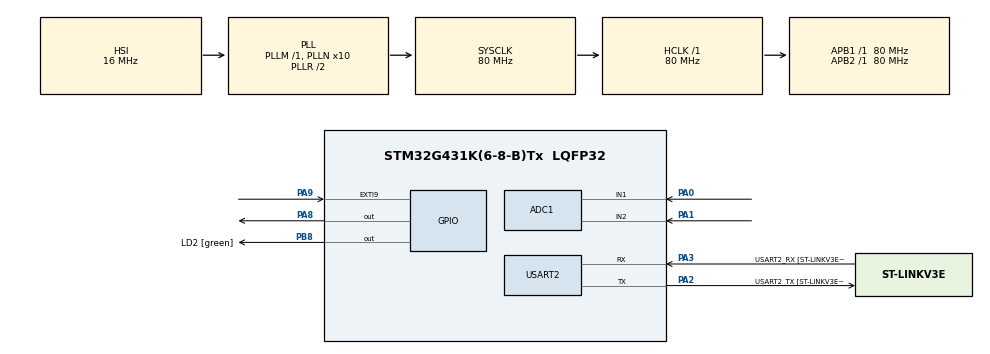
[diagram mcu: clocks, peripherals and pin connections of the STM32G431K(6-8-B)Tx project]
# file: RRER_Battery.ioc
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ADC1.Channel-0\#ChannelRegularConversion=ADC_CHANNEL_1
ADC1.Channel-2\#ChannelRegularConversion=ADC_CHANNEL_2
ADC1.Channel-3\#ChannelRegularConversion=ADC_CHANNEL_VREFINT
ADC1.ClockPrescaler=ADC_CLOCK_SYNC_PCLK_DIV4
ADC1.ContinuousConvMode=ENABLE
ADC1.DMAContinuousRequests=ENABLE
ADC1.EnableAnalogWatchDog1=false
ADC1.EnableAnalogWatchDog2=false
ADC1.EnableAnalogWatchDog3=false
ADC1.EnableInjectedConversion=ENABLE
ADC1.InjNumberOfConversion=0
ADC1.MonitoredBy-2\#ChannelRegularConversion=ADC_ANALOGWATCHDOG_2
ADC1.NbrOfConversion=3
ADC1.NbrOfConversionFlag=1
ADC1.OffsetNumber-0\#ChannelRegularConversion=ADC_OFFSET_NONE
ADC1.OffsetNumber-2\#ChannelRegularConversion=ADC_OFFSET_NONE
ADC1.OffsetNumber-3\#ChannelRegularConversion=ADC_OFFSET_NONE
ADC1.Overrun=ADC_OVR_DATA_PRESERVED
ADC1.Rank-0\#ChannelRegularConversion=1
ADC1.Rank-2\#ChannelRegularConversion=2
ADC1.Rank-3\#ChannelRegularConversion=3
ADC1.RegFilteringConfig-2\#ChannelRegularConversion=ADC_AWD_FILTERING_NONE
ADC1.SamplingTime-0\#ChannelRegularConversion=ADC_SAMPLETIME_47CYCLES_5
ADC1.SamplingTime-2\#ChannelRegularConversion=ADC_SAMPLETIME_47CYCLES_5
ADC1.SamplingTime-3\#ChannelRegularConversion=ADC_SAMPLETIME_47CYCLES_5
ADC1.WDG2ChannelR2=ADC_CHANNEL_2
ADC1.master=1
Dma.ADC1.0.Direction=DMA_PERIPH_TO_MEMORY
Dma.ADC1.0.EventEnable=DISABLE
Dma.ADC1.0.Instance=DMA1_Channel1
Dma.ADC1.0.MemDataAlignment=DMA_MDATAALIGN_HALFWORD
Dma.ADC1.0.MemInc=DMA_MINC_ENABLE
Dma.ADC1.0.Mode=DMA_CIRCULAR
Dma.ADC1.0.PeriphDataAlignment=DMA_PDATAALIGN_HALFWORD
Dma.ADC1.0.PeriphInc=DMA_PINC_DISABLE
Dma.ADC1.0.Polarity=HAL_DMAMUX_REQ_GEN_RISING
Dma.ADC1.0.Priority=DMA_PRIORITY_MEDIUM
Dma.ADC1.0.RequestNumber=1
Dma.ADC1.0.SignalID=NONE
Dma.ADC1.0.SyncEnable=DISABLE
Dma.ADC1.0.SyncPolarity=HAL_DMAMUX_SYNC_NO_EVENT
Dma.ADC1.0.SyncRequestNumber=1
Dma.ADC1.0.SyncSignalID=NONE
Dma.Request0=ADC1
Mcu.Family=STM32G4
Mcu.Name=STM32G431K(6-8-B)Tx
Mcu.Package=LQFP32
NVIC.DMA1_Channel1_IRQn=true\:0\:0\:false\:false\:true\:false\:true
NVIC.EXTI9_5_IRQn=true\:0\:0\:false\:false\:true\:true\:true
NVIC.PriorityGroup=NVIC_PRIORITYGROUP_4
NVIC.TIM2_IRQn=true\:0\:0\:false\:false\:true\:true\:true
NVIC.TIM3_IRQn=true\:0\:0\:false\:false\:true\:true\:true
NVIC.TIM6_DAC_IRQn=true\:15\:0\:false\:false\:true\:false\:true
NVIC.TimeBase=TIM6_DAC_IRQn
NVIC.TimeBaseIP=TIM6
NVIC.USART2_IRQn=true\:0\:0\:false\:false\:true\:true\:true
PA0.Mode=IN1-Single-Ended
PA0.Signal=ADC1_IN1
PA1.Mode=IN2-Single-Ended
PA1.Signal=ADC1_IN2
PA13.GPIO_Label=T_SWDIO
PA13.Mode=Serial_Wire
PA13.Signal=SYS_JTMS-SWDIO
PA14.GPIO_Label=T_SWCLK
PA14.Mode=Serial_Wire
PA14.Signal=SYS_JTCK-SWCLK
PA2.GPIO_Label=USART2_TX [ST-LINKV3E_VCP_RX]
PA2.Mode=Asynchronous
PA2.Signal=USART2_TX
PA3.GPIO_Label=USART2_RX [ST-LINKV3E_VCP_TX]
PA3.Mode=Asynchronous
PA3.Signal=USART2_RX
PA8.Signal=GPIO_Output
PA9.GPIO_ModeDefaultEXTI=GPIO_MODE_IT_RISING_FALLING
PA9.Signal=GPXTI9
PB3.GPIO_Label=T_SWO
PB3.Signal=SYS_JTDO-SWO
PB8-BOOT0.GPIO_Label=LD2 [green]
PB8-BOOT0.Signal=GPIO_Output
ProjectManager.HeapSize=0x200
ProjectManager.StackSize=0x400
ProjectManager.TargetToolchain=STM32CubeIDE
RCC.ADC12Freq_Value=80000000
RCC.AHBFreq_Value=80000000
RCC.APB1Freq_Value=80000000
RCC.APB1TimFreq_Value=80000000
RCC.APB2Freq_Value=80000000
RCC.APB2TimFreq_Value=80000000
RCC.CortexFreq_Value=80000000
RCC.EXTERNAL_CLOCK_VALUE=12288000
RCC.HCLKFreq_Value=80000000
RCC.HSE_VALUE=8000000
RCC.HSI48_VALUE=48000000
RCC.HSI_VALUE=16000000
RCC.LSE_VALUE=32768
RCC.PLLN=10
RCC.SYSCLKFreq_VALUE=80000000
RCC.SYSCLKSource=RCC_SYSCLKSOURCE_PLLCLK
RCC.USBFreq_Value=80000000
RCC.VCOOutputFreq_Value=160000000
TIM2.PeriodNoDither=500000-1
TIM2.Prescaler=80-1
TIM3.PeriodNoDither=1000-1
TIM3.Prescaler=80-1
USART2.VirtualMode-Asynchronous=VM_ASYNC
USART2.WordLength=WORDLENGTH_8B
VP_ADC1_Vref_Input.Mode=IN-Vrefint
VP_SYS_VS_DBSignals.Mode=DisableDeadBatterySignals
VP_SYS_VS_tim6.Mode=TIM6
VP_TIM2_VS_ClockSourceINT.Mode=Internal
VP_TIM3_VS_ClockSourceINT.Mode=Internal
board=NUCLEO-G431KB

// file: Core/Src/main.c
/* USER CODE BEGIN Header */
/**
  ******************************************************************************
  * @file           : main.c
  * @brief          : Main program body
  ******************************************************************************
  * @attention
  *
  * <h2><center>&copy; Copyright (c) 2023 STMicroelectronics.
  * All rights reserved.</center></h2>
  *
  * This software component is licensed by ST under BSD 3-Clause license,
  * the "License"; You may not use this file except in compliance with the
  * License. You may obtain a copy of the License at:
  *                        opensource.org/licenses/BSD-3-Clause
  *
  ******************************************************************************
  */
/* USER CODE END Header */
#include "main.h"

/* USER CODE BEGIN Includes */
#include "stdio.h"
#include "string.h"
#include "stdlib.h"
#include "7520.h"
#include "ACS758.h"
#include "c_values.h"
/* USER CODE END Includes */

/* USER CODE BEGIN PD */
#define FILTER_C 0.95f
#define CURRENT_NOTIFICATION 80.0
#define VOLTAGE_NOTIFICATION 20.0
/* USER CODE END PD */

ADC_HandleTypeDef hadc1;
DMA_HandleTypeDef hdma_adc1;

TIM_HandleTypeDef htim2;
TIM_HandleTypeDef htim3;

UART_HandleTypeDef huart2;

/* USER CODE BEGIN PV */
uint8_t msg_buffer[1];
uint16_t g_ADCBuffer[3];
int v_value;
int a_value;
int vref_value;
volatile float vref = 3.3f;
int isON = 0;
volatile float V = 0;
volatile float A = 0;
/* USER CODE END PV */

void SystemClock_Config(void);
static void MX_GPIO_Init(void);
static void MX_DMA_Init(void);
static void MX_ADC1_Init(void);
static void MX_USART2_UART_Init(void);
static void MX_TIM2_Init(void);
static void MX_TIM3_Init(void);

int main(void)
{
  /* USER CODE BEGIN 1 */
  setbuf(stdout, NULL);
  /* USER CODE END 1 */

  /* MCU Configuration--------------------------------------------------------*/

  /* Reset of all peripherals, Initializes the Flash interface and the Systick. */
  HAL_Init();

  /* Configure the system clock */
  SystemClock_Config();

  /* Initialize all configured peripherals */
  MX_GPIO_Init();
  MX_DMA_Init();
  MX_ADC1_Init();
  MX_USART2_UART_Init();
  MX_TIM2_Init();
  MX_TIM3_Init();
  /* USER CODE BEGIN 2 */
  HAL_UART_Receive_IT(&huart2, msg_buffer, 1);
  HAL_ADCEx_Calibration_Start(&hadc1, ADC_SINGLE_ENDED);
  HAL_ADC_Start_DMA(&hadc1, (uint32_t *)g_ADCBuffer, 3);
  HAL_TIM_Base_Start_IT(&htim2);
  HAL_TIM_Base_Start_IT(&htim3);
  /* USER CODE END 2 */

  /* Infinite loop */
  /* USER CODE BEGIN WHILE */
  HAL_GPIO_WritePin(GPIOA, GPIO_PIN_8, GPIO_PIN_RESET);
  HAL_GPIO_WritePin(LD2_GPIO_Port, LD2_Pin, GPIO_PIN_RESET);
  HAL_GPIO_WritePin(GPIOA, GPIO_PIN_8, GPIO_PIN_SET);
  HAL_GPIO_WritePin(LD2_GPIO_Port, LD2_Pin, GPIO_PIN_SET);

  while (1)
  {
    HAL_GPIO_WritePin(LD2_GPIO_Port, LD2_Pin, isON);
    HAL_Delay(1);
    /* USER CODE END WHILE */

  }
}

void SystemClock_Config(void)
{
  RCC_OscInitTypeDef RCC_OscInitStruct = {0};
  RCC_ClkInitTypeDef RCC_ClkInitStruct = {0};
  RCC_PeriphCLKInitTypeDef PeriphClkInit = {0};

  /** Configure the main internal regulator output voltage
  */
  HAL_PWREx_ControlVoltageScaling(PWR_REGULATOR_VOLTAGE_SCALE1);
  /** Initializes the RCC Oscillators according to the specified parameters
  * in the RCC_OscInitTypeDef structure.
  */
  RCC_OscInitStruct.OscillatorType = RCC_OSCILLATORTYPE_HSI;
  RCC_OscInitStruct.HSIState = RCC_HSI_ON;
  RCC_OscInitStruct.HSICalibrationValue = RCC_HSICALIBRATION_DEFAULT;
  RCC_OscInitStruct.PLL.PLLState = RCC_PLL_ON;
  RCC_OscInitStruct.PLL.PLLSource = RCC_PLLSOURCE_HSI;
  RCC_OscInitStruct.PLL.PLLM = RCC_PLLM_DIV1;
  RCC_OscInitStruct.PLL.PLLN = 10;
  RCC_OscInitStruct.PLL.PLLP = RCC_PLLP_DIV2;
  RCC_OscInitStruct.PLL.PLLQ = RCC_PLLQ_DIV2;
  RCC_OscInitStruct.PLL.PLLR = RCC_PLLR_DIV2;
  if (HAL_RCC_OscConfig(&RCC_OscInitStruct) != HAL_OK)
  {
    Error_Handler();
  }
  /** Initializes the CPU, AHB and APB buses clocks
  */
  RCC_ClkInitStruct.ClockType = RCC_CLOCKTYPE_HCLK|RCC_CLOCKTYPE_SYSCLK
                              |RCC_CLOCKTYPE_PCLK1|RCC_CLOCKTYPE_PCLK2;
  RCC_ClkInitStruct.SYSCLKSource = RCC_SYSCLKSOURCE_PLLCLK;
  RCC_ClkInitStruct.AHBCLKDivider = RCC_SYSCLK_DIV1;
  RCC_ClkInitStruct.APB1CLKDivider = RCC_HCLK_DIV1;
  RCC_ClkInitStruct.APB2CLKDivider = RCC_HCLK_DIV1;

  if (HAL_RCC_ClockConfig(&RCC_ClkInitStruct, FLASH_LATENCY_2) != HAL_OK)
  {
    Error_Handler();
  }
  /** Initializes the peripherals clocks
  */
  PeriphClkInit.PeriphClockSelection = RCC_PERIPHCLK_USART2|RCC_PERIPHCLK_ADC12;
  PeriphClkInit.Usart2ClockSelection = RCC_USART2CLKSOURCE_PCLK1;
  PeriphClkInit.Adc12ClockSelection = RCC_ADC12CLKSOURCE_SYSCLK;
  if (HAL_RCCEx_PeriphCLKConfig(&PeriphClkInit) != HAL_OK)
  {
    Error_Handler();
  }
}

static void MX_ADC1_Init(void)
{

  ADC_MultiModeTypeDef multimode = {0};
  ADC_ChannelConfTypeDef sConfig = {0};

  /** Common config
  */
  hadc1.Instance = ADC1;
  hadc1.Init.ClockPrescaler = ADC_CLOCK_SYNC_PCLK_DIV4;
  hadc1.Init.Resolution = ADC_RESOLUTION_12B;
  hadc1.Init.DataAlign = ADC_DATAALIGN_RIGHT;
  hadc1.Init.GainCompensation = 0;
  hadc1.Init.ScanConvMode = ADC_SCAN_ENABLE;
  hadc1.Init.EOCSelection = ADC_EOC_SINGLE_CONV;
  hadc1.Init.LowPowerAutoWait = DISABLE;
  hadc1.Init.ContinuousConvMode = ENABLE;
  hadc1.Init.NbrOfConversion = 3;
  hadc1.Init.DiscontinuousConvMode = DISABLE;
  hadc1.Init.ExternalTrigConv = ADC_SOFTWARE_START;
  hadc1.Init.ExternalTrigConvEdge = ADC_EXTERNALTRIGCONVEDGE_NONE;
  hadc1.Init.DMAContinuousRequests = ENABLE;
  hadc1.Init.Overrun = ADC_OVR_DATA_PRESERVED;
  hadc1.Init.OversamplingMode = DISABLE;
  if (HAL_ADC_Init(&hadc1) != HAL_OK)
  {
    Error_Handler();
  }
  /** Configure the ADC multi-mode
  */
  multimode.Mode = ADC_MODE_INDEPENDENT;
  if (HAL_ADCEx_MultiModeConfigChannel(&hadc1, &multimode) != HAL_OK)
  {
    Error_Handler();
  }
  /** Configure Regular Channel
  */
  sConfig.Channel = ADC_CHANNEL_1;
  sConfig.Rank = ADC_REGULAR_RANK_1;
  sConfig.SamplingTime = ADC_SAMPLETIME_47CYCLES_5;
  sConfig.SingleDiff = ADC_SINGLE_ENDED;
  sConfig.OffsetNumber = ADC_OFFSET_NONE;
  sConfig.Offset = 0;
  if (HAL_ADC_ConfigChannel(&hadc1, &sConfig) != HAL_OK)
  {
    Error_Handler();
  }
  /** Configure Regular Channel
  */
  sConfig.Channel = ADC_CHANNEL_2;
  sConfig.Rank = ADC_REGULAR_RANK_2;
  if (HAL_ADC_ConfigChannel(&hadc1, &sConfig) != HAL_OK)
  {
    Error_Handler();
  }
  /** Configure Regular Channel
  */
  sConfig.Channel = ADC_CHANNEL_VREFINT;
  sConfig.Rank = ADC_REGULAR_RANK_3;
  if (HAL_ADC_ConfigChannel(&hadc1, &sConfig) != HAL_OK)
  {
    Error_Handler();
  }

}

static void MX_TIM2_Init(void)
{

  TIM_ClockConfigTypeDef sClockSourceConfig = {0};
  TIM_MasterConfigTypeDef sMasterConfig = {0};

  htim2.Instance = TIM2;
  htim2.Init.Prescaler = 80-1;
  htim2.Init.CounterMode = TIM_COUNTERMODE_UP;
  htim2.Init.Period = 499999;
  htim2.Init.ClockDivision = TIM_CLOCKDIVISION_DIV1;
  htim2.Init.AutoReloadPreload = TIM_AUTORELOAD_PRELOAD_DISABLE;
  if (HAL_TIM_Base_Init(&htim2) != HAL_OK)
  {
    Error_Handler();
  }
  sClockSourceConfig.ClockSource = TIM_CLOCKSOURCE_INTERNAL;
  if (HAL_TIM_ConfigClockSource(&htim2, &sClockSourceConfig) != HAL_OK)
  {
    Error_Handler();
  }
  sMasterConfig.MasterOutputTrigger = TIM_TRGO_RESET;
  sMasterConfig.MasterSlaveMode = TIM_MASTERSLAVEMODE_DISABLE;
  if (HAL_TIMEx_MasterConfigSynchronization(&htim2, &sMasterConfig) != HAL_OK)
  {
    Error_Handler();
  }

}

static void MX_TIM3_Init(void)
{

  TIM_ClockConfigTypeDef sClockSourceConfig = {0};
  TIM_MasterConfigTypeDef sMasterConfig = {0};

  htim3.Instance = TIM3;
  htim3.Init.Prescaler = 80-1;
  htim3.Init.CounterMode = TIM_COUNTERMODE_UP;
  htim3.Init.Period = 999;
  htim3.Init.ClockDivision = TIM_CLOCKDIVISION_DIV1;
  htim3.Init.AutoReloadPreload = TIM_AUTORELOAD_PRELOAD_DISABLE;
  if (HAL_TIM_Base_Init(&htim3) != HAL_OK)
  {
    Error_Handler();
  }
  sClockSourceConfig.ClockSource = TIM_CLOCKSOURCE_INTERNAL;
  if (HAL_TIM_ConfigClockSource(&htim3, &sClockSourceConfig) != HAL_OK)
  {
    Error_Handler();
  }
  sMasterConfig.MasterOutputTrigger = TIM_TRGO_RESET;
  sMasterConfig.MasterSlaveMode = TIM_MASTERSLAVEMODE_DISABLE;
  if (HAL_TIMEx_MasterConfigSynchronization(&htim3, &sMasterConfig) != HAL_OK)
  {
    Error_Handler();
  }

}

static void MX_USART2_UART_Init(void)
{

  huart2.Instance = USART2;
  huart2.Init.BaudRate = 115200;
  huart2.Init.WordLength = UART_WORDLENGTH_8B;
  huart2.Init.StopBits = UART_STOPBITS_1;
  huart2.Init.Parity = UART_PARITY_NONE;
  huart2.Init.Mode = UART_MODE_TX_RX;
  huart2.Init.HwFlowCtl = UART_HWCONTROL_NONE;
  huart2.Init.OverSampling = UART_OVERSAMPLING_16;
  huart2.Init.OneBitSampling = UART_ONE_BIT_SAMPLE_DISABLE;
  huart2.Init.ClockPrescaler = UART_PRESCALER_DIV1;
  huart2.AdvancedInit.AdvFeatureInit = UART_ADVFEATURE_NO_INIT;
  if (HAL_UART_Init(&huart2) != HAL_OK)
  {
    Error_Handler();
  }
  if (HAL_UARTEx_SetTxFifoThreshold(&huart2, UART_TXFIFO_THRESHOLD_1_8) != HAL_OK)
  {
    Error_Handler();
  }
  if (HAL_UARTEx_SetRxFifoThreshold(&huart2, UART_RXFIFO_THRESHOLD_1_8) != HAL_OK)
  {
    Error_Handler();
  }
  if (HAL_UARTEx_DisableFifoMode(&huart2) != HAL_OK)
  {
    Error_Handler();
  }

}

static void MX_DMA_Init(void)
{

  /* DMA controller clock enable */
  __HAL_RCC_DMAMUX1_CLK_ENABLE();
  __HAL_RCC_DMA1_CLK_ENABLE();

  /* DMA interrupt init */
  /* DMA1_Channel1_IRQn interrupt configuration */
  HAL_NVIC_SetPriority(DMA1_Channel1_IRQn, 0, 0);
  HAL_NVIC_EnableIRQ(DMA1_Channel1_IRQn);

}

static void MX_GPIO_Init(void)
{
  GPIO_InitTypeDef GPIO_InitStruct = {0};

  /* GPIO Ports Clock Enable */
  __HAL_RCC_GPIOA_CLK_ENABLE();
  __HAL_RCC_GPIOB_CLK_ENABLE();

  /*Configure GPIO pin Output Level */
  HAL_GPIO_WritePin(GPIOA, GPIO_PIN_8, GPIO_PIN_RESET);

  /*Configure GPIO pin Output Level */
  HAL_GPIO_WritePin(LD2_GPIO_Port, LD2_Pin, GPIO_PIN_RESET);

  /*Configure GPIO pin : PA8 */
  GPIO_InitStruct.Pin = GPIO_PIN_8;
  GPIO_InitStruct.Mode = GPIO_MODE_OUTPUT_PP;
  GPIO_InitStruct.Pull = GPIO_NOPULL;
  GPIO_InitStruct.Speed = GPIO_SPEED_FREQ_LOW;
  HAL_GPIO_Init(GPIOA, &GPIO_InitStruct);

  /*Configure GPIO pin : PA9 */
  GPIO_InitStruct.Pin = GPIO_PIN_9;
  GPIO_InitStruct.Mode = GPIO_MODE_IT_RISING_FALLING;
  GPIO_InitStruct.Pull = GPIO_NOPULL;
  HAL_GPIO_Init(GPIOA, &GPIO_InitStruct);

  /*Configure GPIO pin : LD2_Pin */
  GPIO_InitStruct.Pin = LD2_Pin;
  GPIO_InitStruct.Mode = GPIO_MODE_OUTPUT_PP;
  GPIO_InitStruct.Pull = GPIO_NOPULL;
  GPIO_InitStruct.Speed = GPIO_SPEED_FREQ_LOW;
  HAL_GPIO_Init(LD2_GPIO_Port, &GPIO_InitStruct);

  /* EXTI interrupt init*/
  HAL_NVIC_SetPriority(EXTI9_5_IRQn, 0, 0);
  HAL_NVIC_EnableIRQ(EXTI9_5_IRQn);

}

/* USER CODE BEGIN 4 */
int _write(int file, char *ptr, int len) {
  HAL_UART_Transmit(&huart2, (uint8_t *)ptr, len, 10);
  return len;
}

/* Use UART to check Emergency button */
void HAL_UART_RxCpltCallback(UART_HandleTypeDef *huart) {
  if (huart->Instance == USART2) {
    if (atoi(msg_buffer) == 9) {
      printf("ES received\r\n");
      HAL_GPIO_WritePin(GPIOA, GPIO_PIN_8, GPIO_PIN_RESET);
      HAL_UART_Receive_IT(&huart2, msg_buffer, 1);
    } else if (atoi(msg_buffer) == 0) {
      HAL_GPIO_WritePin(GPIOA, GPIO_PIN_8, GPIO_PIN_SET);
      HAL_UART_Receive_IT(&huart2, msg_buffer, 1);
    }
  }
}

void HAL_GPIO_EXTI_Callback(uint16_t GPIO_PIN) {
  if (GPIO_PIN == GPIO_PIN_9) {
    if (HAL_GPIO_ReadPin(GPIOA, GPIO_PIN_9) == GPIO_PIN_SET) {
//      do when power turned on
      HAL_GPIO_WritePin(LD2_GPIO_Port, LD2_Pin, GPIO_PIN_SET);
      printf("Power turned ON\r\n");
      isON = 1;
    } else {
//      do when power turned off
      HAL_GPIO_WritePin(LD2_GPIO_Port, LD2_Pin, GPIO_PIN_RESET);
      printf("Power turned OFF\r\n");
      isON = 0;
    }
  }
}

/* USER CODE END 4 */

void HAL_TIM_PeriodElapsedCallback(TIM_HandleTypeDef *htim)
{
  if (htim->Instance == TIM6) {
    HAL_IncTick();
  }
  /* USER CODE BEGIN Callback 1 */
  if (htim->Instance == TIM2) {
//    do every 500ms
    printf("V:%.3f, A:%.3f, POWER:%d\r\n", V, A, isON);
  }

  if (htim->Instance == TIM3) {
//    do every 1ms
    v_value = g_ADCBuffer[0];
    a_value = g_ADCBuffer[1];
    vref_value = g_ADCBuffer[2];
    vref = FILTER_C * vref + (1 - FILTER_C) * (calc_v_ref(vref_value));
    V = FILTER_C * V + (1 - FILTER_C) * (calc_voltage(v_value, vref));
    A = FILTER_C * A + (1 - FILTER_C) * (calc_amp(a_value, vref));
    isON = HAL_GPIO_ReadPin(GPIOA, GPIO_PIN_9);

    if (V < VOLTAGE_NOTIFICATION) {
      //      do when battery voltage falls below VOLTAGE_NOTIFICATION
//      printf("BATTERY VOLTAGE UNDER %d\r\n", (int)VOLTAGE_NOTIFICATION);
    }
    if (A > CURRENT_NOTIFICATION) {
      //      do when current flows over CURRENT_NOTIFICATION
//      printf("CURRENT over %d\r\n", (int)CURRENT_NOTIFICATION);
    }
  }
  /* USER CODE END Callback 1 */
}

void Error_Handler(void)
{
  __disable_irq();
  while (1)
  {
  }
}

/************************ (C) COPYRIGHT STMicroelectronics *****END OF FILE****/
